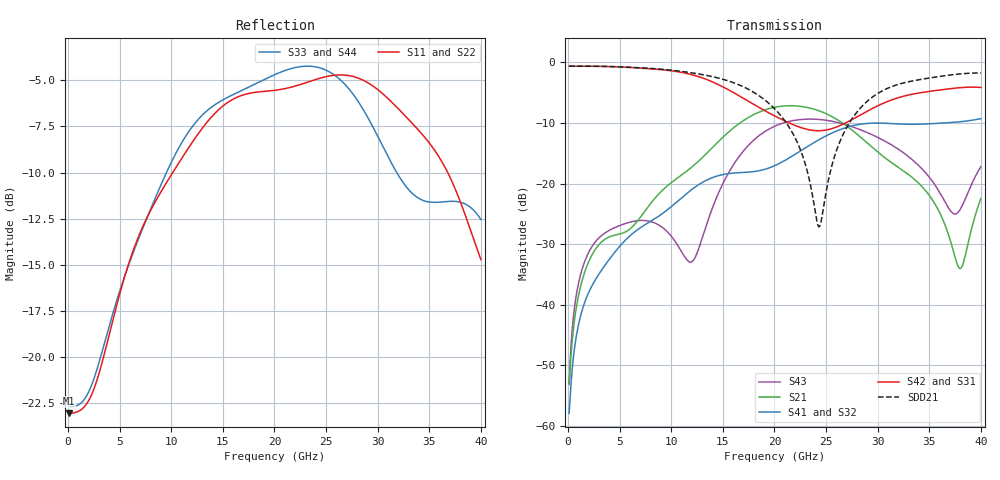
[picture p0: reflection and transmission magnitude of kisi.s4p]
! E_s8_L1L3_p1000_oval_g2: pair L1→L3, pitch 1 mm, one oval antipad, 2 GND vias
! stackup: 8-layer 1.6 mm FR-4 (generic)
! ports: 1 P near, 2 N near, 3 P far, 4 N far
! kisi-fdtd, conformal, dfine 0.0175 mm (the cell at metal ÷ 2), 1729728 cells
# Hz S RI R 50
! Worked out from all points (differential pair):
!   400 points, 100 MHz to 40 GHz, reference 50 ohm
!   strongest paths, dB at 100 MHz, 10.1 GHz, 20.1 GHz, 30.1 GHz, 40 GHz:
!     S42: -0.6, -1.4, -8.9, -7.1, -4.2
!     S31: -0.6, -1.4, -8.9, -7.1, -4.2
!     S41: -57.9, -23.7, -17.0, -10.0, -9.3
!     S32: -57.9, -23.7, -17.0, -10.0, -9.3
!     S21: -53.1, -19.7, -7.4, -14.9, -22.5
!     S43: -53.1, -28.9, -10.5, -12.5, -17.2
!   taken as a pair (ports 2,1 in; 4,3 out), SDD21 dB: -0.7, -1.3, -7.8, -5.0, -1.8
!   lowest |S11| = -23.1 dB at 100 MHz (marker M1), VSWR 1.15, Z = 43.4 + j0.0264 ohm
!   |S11| at or under -10 dB: start of sweep to 10.14 GHz; 36.79 GHz to end of sweep
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1e8  -0.0704 0.000302  0.00191 0.0011  0.9257 -0.034  -0.00198 -0.000335
     0.00191 0.0011  -0.0704 0.000302  -0.00198 -0.000335  0.9257 -0.034
     0.9279 -0.0343  0.00104 -0.000737  -0.0732 0.000677  -0.00153 0.0016
     0.00104 -0.000737  0.9279 -0.0343  -0.00153 0.0016  -0.0732 0.000677
4.1e9  -0.1153 0.0271  0.0364 0.00325  0.0415 -0.9213  -0.0259 -0.00196
       0.0364 0.00325  -0.1153 0.0271  -0.0259 -0.00196  0.0415 -0.9213
       0.0426 -0.92  -0.0244 -0.000227  -0.1137 0.0507  0.0415 -0.00251
       -0.0244 -0.000227  0.0426 -0.92  0.0415 -0.00251  -0.1137 0.0507
8.2e9  0.000408 0.256  0.0585 -0.0417  -0.8783 -0.0641  0.00244 0.0486
       0.0585 -0.0417  0.000408 0.256  0.00244 0.0486  -0.8783 -0.0641
       -0.8785 -0.0631  0.00224 0.0499  -0.00236 0.2597  -0.00508 -0.0477
       0.00224 0.0499  -0.8785 -0.0631  -0.00508 -0.0477  -0.00236 0.2597
1.53e10  0.1159 -0.4721  -0.2536 -0.0194  0.547 0.2666  -0.062 -0.1019
         -0.2536 -0.0194  0.1159 -0.4721  -0.062 -0.1019  0.547 0.2666
         0.5471 0.266  -0.0618 -0.1026  0.1 -0.4929  -0.105 0.0391
         -0.0618 -0.1026  0.5471 0.266  -0.105 0.0391  0.1 -0.4929
2.25e10  -0.2743 0.4741  0.4275 -0.0697  -0.0152 -0.2906  0.1119 -0.1482
         0.4275 -0.0697  -0.2743 0.4741  0.1119 -0.1482  -0.0152 -0.2906
         -0.0152 -0.2901  0.1119 -0.1476  -0.0438 0.6107  0.2637 -0.2094
         0.1119 -0.1476  -0.0152 -0.2901  0.2637 -0.2094  -0.0438 0.6107
3.39e10  -0.3056 -0.2787  -0.0192 0.1002  0.0809 0.5515  0.2743 -0.1366
         -0.0192 0.1002  -0.3056 -0.2787  0.2743 -0.1366  0.0809 0.5515
         0.0817 0.5504  0.2755 -0.138  -0.2662 0.0457  0.1427 -0.000312
         0.2755 -0.138  0.0817 0.5504  0.1427 -0.000312  -0.2662 0.0457
4e10  -0.000191 0.1837  -0.0271 0.0703  0.3832 -0.4889  -0.3265 -0.0843
      -0.0271 0.0703  -0.000191 0.1837  -0.3265 -0.0843  0.3832 -0.4889
      0.3794 -0.4905  -0.3314 -0.0868  0.1835 0.1481  0.1311 -0.0431
      -0.3314 -0.0868  0.3794 -0.4905  0.1311 -0.0431  0.1835 0.1481
